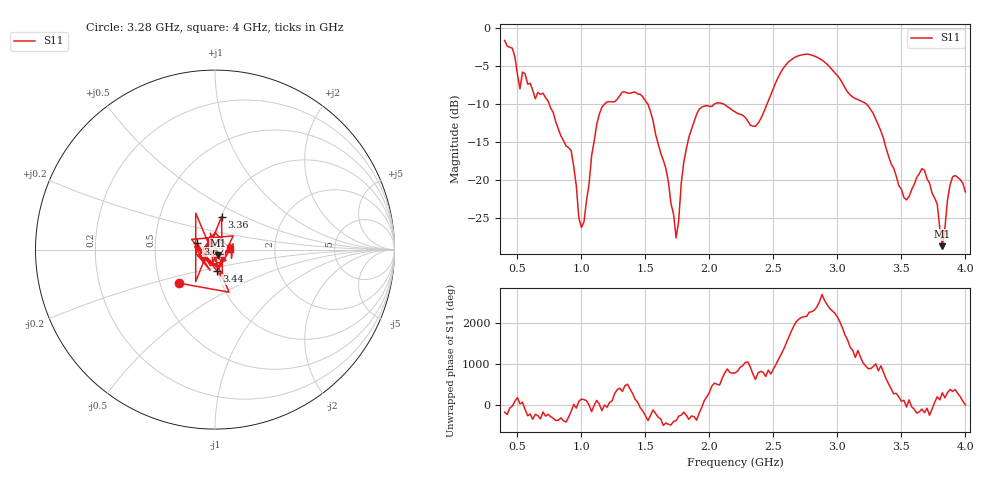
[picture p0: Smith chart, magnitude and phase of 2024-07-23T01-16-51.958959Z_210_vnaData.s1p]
!Created with skrf (http://scikit-rf.org).
# Hz S RI R 50.0
!freq ReS11 ImS11
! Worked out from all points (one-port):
!   181 points, 400 MHz to 4 GHz, reference 50 ohm
!   lowest |S11| = -28.8 dB at 3.82 GHz (marker M1), VSWR 1.08, Z = 51.6 - j3.32 ohm
!   |S11| at or under -10 dB: 747.8 MHz to 1.183 GHz (435.1 MHz wide, 45.1 % of centre); 1.517 GHz to 2.042 GHz (525.3 MHz wide, 29.5 % of centre); 3.224 GHz to end of sweep (the widest 3 of 4)
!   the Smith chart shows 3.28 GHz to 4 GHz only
!   S11 on the Smith chart (normalised r, x): 3.28 GHz: 0.63, -0.25; 3.36 GHz: 1.00, +0.38; 3.44 GHz: 0.99, -0.24; 3.62 GHz: 0.82, +0.06; 4 GHz: 1.18, +0.01
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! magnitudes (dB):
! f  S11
! 400 MHz  -1.6
! 520 MHz  -8.0
! 540 MHz  -5.8
! 700 MHz  -8.6
! 860 MHz  -14.9
! 920 MHz  -16.2
! 1 GHz  -26.3
! 1.14 GHz  -11.4
! 1.3 GHz  -8.9
! 1.52 GHz  -10.1
! 1.66 GHz  -18.5
! 1.74 GHz  -27.7
! 1.76 GHz  -25.4
! 1.8 GHz  -17.7
! 1.92 GHz  -10.7
! 2.2 GHz  -11.0
! 2.36 GHz  -13.0
! 2.66 GHz  -3.9
! 3.1 GHz  -8.8
! 3.28 GHz  -11.3
! 3.36 GHz  -14.6
! 3.44 GHz  -18.5
! 3.56 GHz  -22.2
! 3.62 GHz  -19.7
! 3.72 GHz  -20.5
! 3.82 GHz  -28.8
! 3.9 GHz  -19.6
! 4 GHz  -21.6
